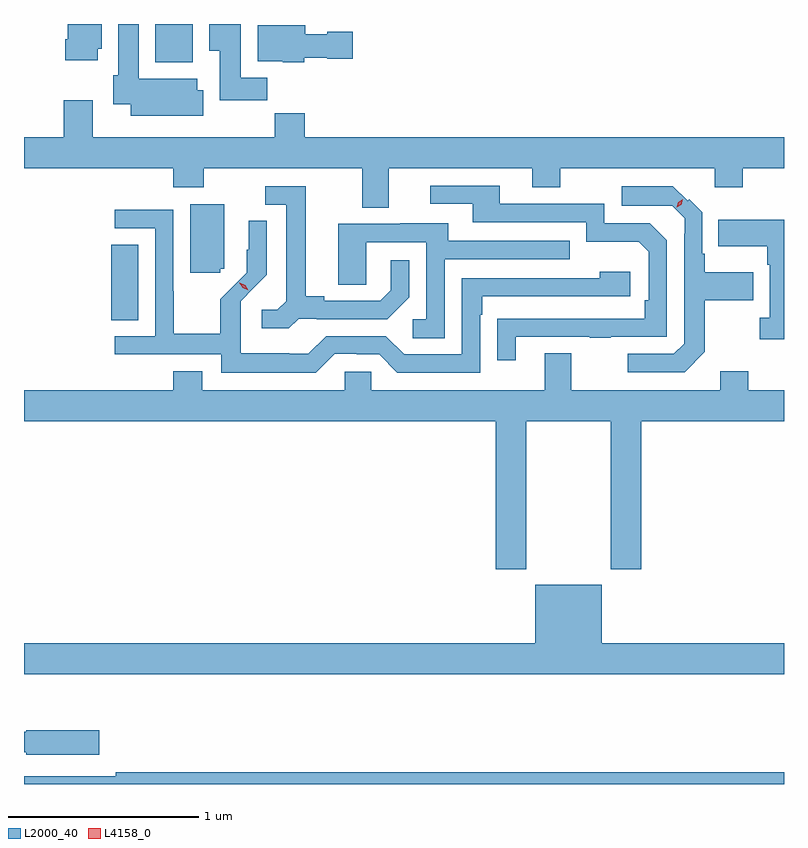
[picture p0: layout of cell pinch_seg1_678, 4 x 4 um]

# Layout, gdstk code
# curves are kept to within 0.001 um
import gdstk
lib = gdstk.Library(unit=1e-6, precision=1e-09)
def R(c, l, rs):  # rectangles x0, y0, x1, y1
    for r in rs: c.add(gdstk.rectangle(r[:2], r[2:], *l))
def P(c, l, *ps):  # polygons
    for p in ps: c.add(gdstk.Polygon(p, *l))
L2000_40 = (2000, 40)
L4158_0 = (4158, 0)

pinch_seg1_678 = lib.new_cell('pinch_seg1_678')
R(pinch_seg1_678, L2000_40, [(662.408,562.921,662.551,563.318), (662.642,564.278,662.839,564.479)])
P(pinch_seg1_678, L2000_40, [(662.893,564.131),(662.863,564.131),(662.863,564.19),(662.554,564.19),(662.554,564.479),(662.447,564.479),(662.447,564.21),(662.42,564.21),(662.42,564.056),(662.513,564.056),(662.513,563.996),(662.893,563.996)],
  [(663.23,564.196),(663.091,564.196),(663.091,564.479),(662.924,564.479),(662.924,564.337),(662.981,564.337),(662.981,564.078),(663.23,564.078)],
  [(662.338,564.348),(662.359,564.348),(662.359,564.479),(662.18,564.479),(662.18,564.4),(662.168,564.4),(662.168,564.288),(662.338,564.288)],
  [(663.426,564.302),(663.546,564.302),(663.546,564.295),(663.679,564.295),(663.679,564.437),(663.546,564.437),(663.546,564.424),(663.43,564.424),(663.43,564.472),(663.179,564.472),(663.179,564.284),(663.312,564.284),(663.312,564.278),(663.426,564.278)],
  [(663.871,563.72),(664.625,563.72),(664.625,563.621),(664.773,563.621),(664.773,563.72),(665.585,563.72),(665.585,563.621),(665.733,563.621),(665.733,563.72),(665.95,563.72),(665.95,563.884),(663.428,563.884),(663.428,564.008),(663.271,564.008),(663.271,563.884),(662.311,563.884),(662.311,564.079),(662.159,564.079),(662.159,563.884),(661.95,563.884),(661.95,563.72),(662.735,563.72),(662.735,563.621),(662.895,563.621),(662.895,563.72),(663.731,563.72),(663.731,563.512),(663.871,563.512)],
  [(664.537,562.833),(664.927,562.833),(664.927,562.828),(665.039,562.828),(665.039,562.833),(665.334,562.833),(665.334,563.34),(665.244,563.43),(665.004,563.43),(665.004,563.532),(664.453,563.532),(664.453,563.628),(664.089,563.628),(664.089,563.532),(664.313,563.532),(664.313,563.436),(664.908,563.436),(664.908,563.333),(665.185,563.333),(665.238,563.28),(665.238,563.026),(665.218,563.026),(665.218,562.929),(664.441,562.928),(664.441,562.71),(664.537,562.71)],
  [(665.533,562.753),(665.533,563.026),(665.789,563.026),(665.789,563.173),(665.533,563.173),(665.533,563.269),(665.52,563.269),(665.52,563.488),(665.452,563.557),(665.443,563.548),(665.365,563.625),(665.097,563.625),(665.097,563.523),(665.361,563.523),(665.427,563.457),(665.427,563.375),(665.424,563.375),(665.424,562.797),(665.37,562.743),(665.127,562.743),(665.127,562.647),(665.427,562.647)],
  [(663.396,562.929),(663.49,562.929),(663.49,562.926),(663.862,562.926),(663.978,563.042),(663.978,563.236),(663.881,563.236),(663.881,563.079),(663.824,563.022),(663.529,563.022),(663.529,563.045),(663.433,563.045),(663.433,563.625),(663.219,563.625),(663.219,563.529),(663.329,563.529),(663.329,563.021),(663.282,562.974),(663.201,562.974),(663.201,562.877),(663.344,562.877)],
  [(662.982,563.19),(663.004,563.19),(663.004,563.53),(662.825,563.53),(662.825,563.169),(662.982,563.169)],
  [(663.585,562.743),(663.701,562.743),(663.701,562.74),(663.819,562.74),(663.915,562.644),(664.35,562.644),(664.35,562.949),(664.363,562.949),(664.363,563.046),(665.14,563.046),(665.14,563.176),(664.979,563.176),(664.979,563.142),(664.254,563.142),(664.254,562.74),(663.951,562.74),(663.855,562.836),(663.54,562.836),(663.447,562.743),(663.347,562.743),(663.347,562.747),(663.09,562.747),(663.09,563.021),(663.228,563.158),(663.228,563.444),(663.132,563.444),(663.132,563.29),(663.123,563.29),(663.123,563.17),(662.983,563.03),(662.983,562.849),(662.739,562.849),(662.739,563.072),(662.736,563.072),(662.736,563.502),(662.427,563.502),(662.427,563.403),(662.64,563.403),(662.64,562.836),(662.427,562.836),(662.427,562.74),(662.988,562.74),(662.988,562.643),(663.485,562.643)],
  [(665.95,563.449),(665.605,563.449),(665.605,563.309),(665.862,563.309),(665.862,563.213),(665.874,563.213),(665.874,562.934),(665.823,562.934),(665.823,562.821),(665.95,562.821)],
  [(664.164,563.241),(664.823,563.241),(664.823,563.337),(664.183,563.337),(664.183,563.431),(663.929,563.431),(663.929,563.427),(663.605,563.427),(663.605,563.107),(663.75,563.107),(663.75,563.331),(664.068,563.331),(664.068,562.926),(663.996,562.926),(663.996,562.825),(664.164,562.825)],
  [(664.593,562.388),(665.038,562.388),(665.038,561.609),(665.198,561.609),(665.198,562.388),(665.95,562.388),(665.95,562.552),(665.763,562.552),(665.763,562.651),(665.615,562.651),(665.615,562.552),(664.831,562.552),(664.831,562.747),(664.691,562.747),(664.691,562.552),(663.777,562.552),(663.777,562.65),(663.639,562.65),(663.639,562.552),(662.887,562.552),(662.887,562.651),(662.735,562.651),(662.735,562.552),(661.95,562.552),(661.95,562.388),(664.433,562.388),(664.433,561.609),(664.593,561.609)],
  [(665.95,561.22),(664.99,561.22),(664.99,561.529),(664.64,561.529),(664.64,561.22),(661.95,561.22),(661.95,561.056),(665.95,561.056)],
  [(662.347,560.763),(661.962,560.763),(661.962,560.755),(661.95,560.755),(661.95,560.646),(661.962,560.646),(661.962,560.633),(662.347,560.633)],
  [(665.95,560.54),(662.434,560.54),(662.434,560.52),(661.95,560.52),(661.95,560.479),(665.95,560.479)])
P(pinch_seg1_678, L4158_0, [(663.13,563.077),(663.1,563.09),(663.084,563.118),(663.084,563.118),(663.085,563.118),(663.114,563.105),(663.13,563.077),(663.13,563.077)],
  [(665.386,563.515),(665.386,563.515),(665.394,563.542),(665.417,563.556),(665.417,563.556),(665.417,563.556),(665.409,563.529),(665.386,563.515)])

lib.write_gds('pinch_seg1_678.gds')
